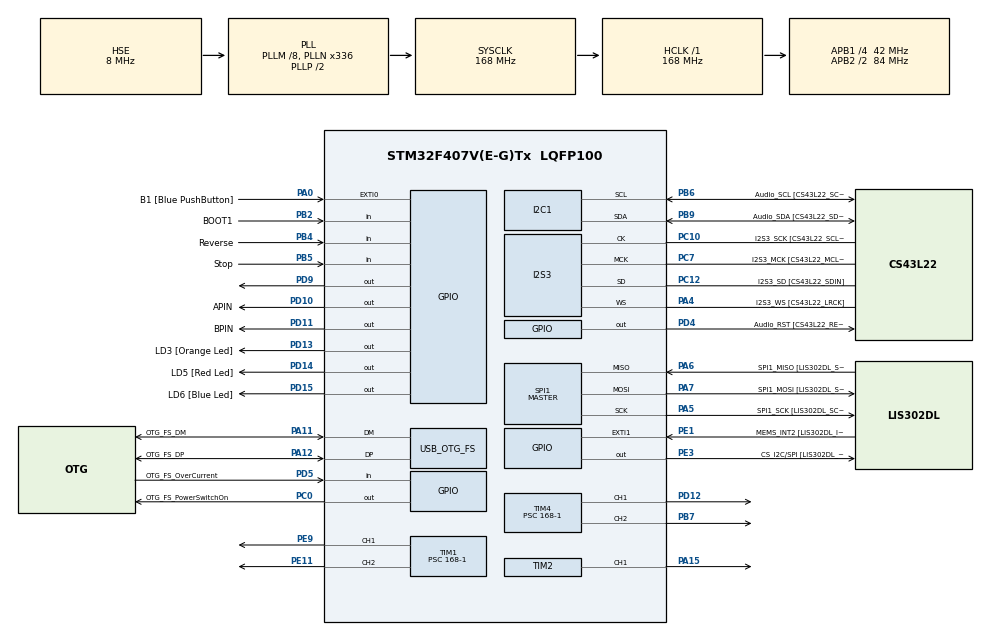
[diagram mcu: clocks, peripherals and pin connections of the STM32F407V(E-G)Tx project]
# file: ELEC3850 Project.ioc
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I2S3.AudioFreq-Half_Duplex_Master=I2S_AUDIOFREQ_96K
I2S3.ErrorAudioFreq=-2.34 %
I2S3.ErrorAudioFreq-Half_Duplex_Master=0.8 %
I2S3.FullDuplexMode=I2S_FULLDUPLEXMODE_DISABLE
I2S3.Instance=SPI$Index
I2S3.RealAudioFreq=93.75 KHz
I2S3.RealAudioFreq-Half_Duplex_Master=96.774 KHz
I2S3.VirtualMode=I2S_MODE_MASTER
Mcu.Family=STM32F4
Mcu.Name=STM32F407V(E-G)Tx
Mcu.Package=LQFP100
NVIC.EXTI0_IRQn=true\:0\:0\:false\:false\:true\:true\:true
NVIC.OTG_FS_IRQn=true\:0\:0\:false\:false\:true\:true\:true
NVIC.PriorityGroup=NVIC_PRIORITYGROUP_0
NVIC.TIM3_IRQn=true\:0\:0\:false\:false\:true\:true\:true
PA0-WKUP.GPIO_Label=B1 [Blue PushButton]
PA0-WKUP.GPIO_ModeDefaultEXTI=GPIO_MODE_IT_RISING
PA0-WKUP.GPIO_PuPd=GPIO_NOPULL
PA0-WKUP.Signal=GPXTI0
PA10.GPIO_Label=OTG_FS_ID
PA10.GPIO_Mode=GPIO_MODE_AF_PP
PA10.GPIO_PuPd=GPIO_NOPULL
PA10.GPIO_Speed=GPIO_SPEED_FREQ_LOW
PA10.Signal=USB_OTG_FS_ID
PA11.GPIO_Label=OTG_FS_DM
PA11.GPIO_Mode=GPIO_MODE_AF_PP
PA11.GPIO_PuPd=GPIO_NOPULL
PA11.GPIO_Speed=GPIO_SPEED_FREQ_LOW
PA11.Mode=Device_Only
PA11.Signal=USB_OTG_FS_DM
PA12.GPIO_Label=OTG_FS_DP
PA12.GPIO_Mode=GPIO_MODE_AF_PP
PA12.GPIO_PuPd=GPIO_NOPULL
PA12.GPIO_Speed=GPIO_SPEED_FREQ_LOW
PA12.Mode=Device_Only
PA12.Signal=USB_OTG_FS_DP
PA13.GPIO_Label=SWDIO
PA13.Mode=Serial_Wire
PA13.Signal=SYS_JTMS-SWDIO
PA14.GPIO_Label=SWCLK
PA14.Mode=Serial_Wire
PA14.Signal=SYS_JTCK-SWCLK
PA15.Signal=S_TIM2_CH1_ETR
PA4.GPIO_Label=I2S3_WS [CS43L22_LRCK]
PA4.GPIO_Mode=GPIO_MODE_AF_PP
PA4.GPIO_PuPd=GPIO_NOPULL
PA4.GPIO_Speed=GPIO_SPEED_FREQ_LOW
PA4.Mode=Half_Duplex_Master
PA4.Signal=I2S3_WS
PA5.GPIO_Label=SPI1_SCK [LIS302DL_SCL/SPC]
PA5.GPIO_Mode=GPIO_MODE_AF_PP
PA5.GPIO_PuPd=GPIO_NOPULL
PA5.GPIO_Speed=GPIO_SPEED_FREQ_LOW
PA5.Mode=Full_Duplex_Master
PA5.Signal=SPI1_SCK
PA6.GPIO_Label=SPI1_MISO [LIS302DL_SDO]
PA6.GPIO_Mode=GPIO_MODE_AF_PP
PA6.GPIO_PuPd=GPIO_NOPULL
PA6.GPIO_Speed=GPIO_SPEED_FREQ_LOW
PA6.Mode=Full_Duplex_Master
PA6.Signal=SPI1_MISO
PA7.GPIO_Label=SPI1_MOSI [LIS302DL_SDA/SDI/SDO]
PA7.GPIO_Mode=GPIO_MODE_AF_PP
PA7.GPIO_PuPd=GPIO_NOPULL
PA7.GPIO_Speed=GPIO_SPEED_FREQ_LOW
PA7.Mode=Full_Duplex_Master
PA7.Signal=SPI1_MOSI
PA9.GPIO_Label=VBUS_FS
PA9.GPIO_Mode=GPIO_MODE_INPUT
PA9.GPIO_PuPd=GPIO_NOPULL
PA9.Signal=USB_OTG_FS_VBUS
PB10.GPIO_Label=CLK_IN [MP45DT02_CLK]
PB10.GPIO_Mode=GPIO_MODE_AF_PP
PB10.GPIO_PuPd=GPIO_NOPULL
PB10.GPIO_Speed=GPIO_SPEED_FREQ_LOW
PB10.Signal=I2S2_CK
PB2.GPIO_Label=BOOT1
PB2.GPIO_Mode=GPIO_MODE_INPUT
PB2.GPIO_PuPd=GPIO_NOPULL
PB2.Signal=GPIO_Input
PB3.GPIO_Label=SWO
PB3.Signal=SYS_JTDO-SWO
PB4.GPIO_Label=Reverse
PB4.GPIO_PuPd=GPIO_PULLDOWN
PB4.Signal=GPIO_Input
PB5.GPIO_Label=Stop
PB5.GPIO_PuPd=GPIO_PULLDOWN
PB5.Signal=GPIO_Input
PB6.GPIO_Label=Audio_SCL [CS43L22_SCL]
PB6.GPIO_Mode=GPIO_MODE_AF_OD
PB6.GPIO_PuPd=GPIO_NOPULL
PB6.GPIO_Speed=GPIO_SPEED_FREQ_LOW
PB6.Mode=I2C
PB6.Signal=I2C1_SCL
PB7.Signal=S_TIM4_CH2
PB9.GPIO_Label=Audio_SDA [CS43L22_SDA]
PB9.GPIO_Mode=GPIO_MODE_AF_OD
PB9.GPIO_PuPd=GPIO_NOPULL
PB9.GPIO_Speed=GPIO_SPEED_FREQ_LOW
PB9.Mode=I2C
PB9.Signal=I2C1_SDA
PC0.GPIO_Label=OTG_FS_PowerSwitchOn
PC0.GPIO_PuPd=GPIO_NOPULL
PC0.GPIO_Speed=GPIO_SPEED_FREQ_LOW
PC0.PinState=GPIO_PIN_SET
PC0.Signal=GPIO_Output
PC10.GPIO_Label=I2S3_SCK [CS43L22_SCLK]
PC10.GPIO_Mode=GPIO_MODE_AF_PP
PC10.GPIO_PuPd=GPIO_NOPULL
PC10.GPIO_Speed=GPIO_SPEED_FREQ_LOW
PC10.Mode=Half_Duplex_Master
PC10.Signal=I2S3_CK
PC12.GPIO_Label=I2S3_SD [CS43L22_SDIN]
PC12.GPIO_Mode=GPIO_MODE_AF_PP
PC12.GPIO_PuPd=GPIO_NOPULL
PC12.GPIO_Speed=GPIO_SPEED_FREQ_LOW
PC12.Mode=Half_Duplex_Master
PC12.Signal=I2S3_SD
PC14-OSC32_IN.GPIO_Label=PC14-OSC32_IN
PC14-OSC32_IN.Mode=LSE-External-Oscillator
PC14-OSC32_IN.Signal=RCC_OSC32_IN
PC15-OSC32_OUT.GPIO_Label=PC15-OSC32_OUT
PC15-OSC32_OUT.Mode=LSE-External-Oscillator
PC15-OSC32_OUT.Signal=RCC_OSC32_OUT
PC3.GPIO_Label=PDM_OUT [MP45DT02_DOUT]
PC3.GPIO_Mode=GPIO_MODE_AF_PP
PC3.GPIO_PuPd=GPIO_NOPULL
PC3.GPIO_Speed=GPIO_SPEED_FREQ_LOW
PC3.Signal=I2S2_SD
PC7.GPIO_Label=I2S3_MCK [CS43L22_MCLK]
PC7.GPIO_Mode=GPIO_MODE_AF_PP
PC7.GPIO_PuPd=GPIO_NOPULL
PC7.GPIO_Speed=GPIO_SPEED_FREQ_LOW
PC7.Mode=Master_Clock_Activated
PC7.Signal=I2S3_MCK
PD10.GPIO_Label=APIN
PD10.Signal=GPIO_Output
PD11.GPIO_Label=BPIN
PD11.Signal=GPIO_Output
PD12.Signal=S_TIM4_CH1
PD13.GPIO_Label=LD3 [Orange Led]
PD13.GPIO_PuPd=GPIO_NOPULL
PD13.GPIO_Speed=GPIO_SPEED_FREQ_LOW
PD13.Signal=GPIO_Output
PD14.GPIO_Label=LD5 [Red Led]
PD14.GPIO_PuPd=GPIO_NOPULL
PD14.GPIO_Speed=GPIO_SPEED_FREQ_LOW
PD14.Signal=GPIO_Output
PD15.GPIO_Label=LD6 [Blue Led]
PD15.GPIO_PuPd=GPIO_NOPULL
PD15.GPIO_Speed=GPIO_SPEED_FREQ_LOW
PD15.Signal=GPIO_Output
PD4.GPIO_Label=Audio_RST [CS43L22_RESET]
PD4.GPIO_PuPd=GPIO_NOPULL
PD4.GPIO_Speed=GPIO_SPEED_FREQ_LOW
PD4.Signal=GPIO_Output
PD5.GPIO_Label=OTG_FS_OverCurrent
PD5.GPIO_Mode=GPIO_MODE_INPUT
PD5.GPIO_PuPd=GPIO_NOPULL
PD5.Signal=GPIO_Input
PD9.Signal=GPIO_Output
PE1.GPIO_Label=MEMS_INT2 [LIS302DL_INT2]
PE1.GPIO_ModeDefaultEXTI=GPIO_MODE_EVT_RISING
PE1.GPIO_PuPd=GPIO_NOPULL
PE1.Signal=GPXTI1
PE11.Signal=S_TIM1_CH2
PE3.GPIO_Label=CS_I2C/SPI [LIS302DL_CS_I2C/SPI]
PE3.GPIO_PuPd=GPIO_NOPULL
PE3.GPIO_Speed=GPIO_SPEED_FREQ_LOW
PE3.Signal=GPIO_Output
PE9.Signal=S_TIM1_CH1
PH0-OSC_IN.GPIO_Label=PH0-OSC_IN
PH0-OSC_IN.Mode=HSE-External-Oscillator
PH0-OSC_IN.Signal=RCC_OSC_IN
PH1-OSC_OUT.GPIO_Label=PH1-OSC_OUT
PH1-OSC_OUT.Mode=HSE-External-Oscillator
PH1-OSC_OUT.Signal=RCC_OSC_OUT
ProjectManager.HeapSize=0x200
ProjectManager.StackSize=0x400
ProjectManager.TargetToolchain=STM32CubeIDE
RCC.48MHZClocksFreq_Value=48000000
RCC.AHBFreq_Value=168000000
RCC.APB1CLKDivider=RCC_HCLK_DIV4
RCC.APB1Freq_Value=42000000
RCC.APB1TimFreq_Value=84000000
RCC.APB2CLKDivider=RCC_HCLK_DIV2
RCC.APB2Freq_Value=84000000
RCC.APB2TimFreq_Value=168000000
RCC.CortexFreq_Value=168000000
RCC.HCLKFreq_Value=168000000
RCC.HSE_VALUE=8000000
RCC.HSI_VALUE=16000000
RCC.PLLM=8
RCC.PLLN=336
RCC.PLLQ=7
RCC.SYSCLKFreq_VALUE=168000000
RCC.SYSCLKSource=RCC_SYSCLKSOURCE_PLLCLK
RCC.VCOOutputFreq_Value=336000000
SH.S_TIM1_CH1.0=TIM1_CH1,PWM Generation1 CH1
SH.S_TIM1_CH2.0=TIM1_CH2,PWM Generation2 CH2
SH.S_TIM2_CH1_ETR.0=TIM2_CH1,PWM Generation1 CH1
SH.S_TIM4_CH1.0=TIM4_CH1,PWM Generation1 CH1
SH.S_TIM4_CH2.0=TIM4_CH2,PWM Generation2 CH2
SPI1.BaudRatePrescaler-Full_Duplex_Master=SPI_BAUDRATEPRESCALER_2
SPI1.CalculateBaudRate-Full_Duplex_Master=42.0 MBits/s
SPI1.Direction=SPI_DIRECTION_2LINES
SPI1.Mode=SPI_MODE_MASTER
SPI1.Mode-Full_Duplex_Master=SPI_MODE_MASTER
SPI1.VirtualType=VM_MASTER
TIM1.Channel-PWM\ Generation1\ CH1=TIM_CHANNEL_1
TIM1.Channel-PWM\ Generation2\ CH2=TIM_CHANNEL_2
TIM1.Period=100-1
TIM1.Prescaler=168-1
TIM1.Pulse-PWM\ Generation1\ CH1=30
TIM1.Pulse-PWM\ Generation2\ CH2=90
TIM2.Channel-PWM\ Generation1\ CH1=TIM_CHANNEL_1
TIM2.Period=2000-1
TIM2.Prescaler=540
TIM4.Channel-PWM\ Generation1\ CH1=TIM_CHANNEL_1
TIM4.Channel-PWM\ Generation2\ CH2=TIM_CHANNEL_2
TIM4.Period=100-1
TIM4.Prescaler=168-1
TIM4.Pulse-PWM\ Generation1\ CH1=30
TIM4.Pulse-PWM\ Generation2\ CH2=90
USB_DEVICE.CLASS_NAME_FS=CDC
USB_DEVICE.VirtualMode-CDC_FS=Cdc
USB_DEVICE.VirtualModeFS=Cdc_FS
USB_OTG_FS.VirtualMode=Device_Only
VP_TIM1_VS_ClockSourceINT.Mode=Internal
VP_TIM2_VS_ClockSourceINT.Mode=Internal
VP_TIM3_VS_ClockSourceINT.Mode=Internal
VP_TIM4_VS_ClockSourceINT.Mode=Internal
VP_USB_DEVICE_VS_USB_DEVICE_CDC_FS.Mode=CDC_FS
board=STM32F4DISCOVERY

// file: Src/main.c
/* USER CODE BEGIN Header */
/**
 ******************************************************************************
 * @file           : main.c
 * @brief          : Main program body
 ******************************************************************************
 * @attention
 *
 * <h2><center>&copy; Copyright (c) 2019 STMicroelectronics.
 * All rights reserved.</center></h2>
 *
 * This software component is licensed by ST under Ultimate Liberty license
 * SLA0044, the "License"; You may not use this file except in compliance with
 * the License. You may obtain a copy of the License at:
 *                             www.st.com/SLA0044
 *
 ******************************************************************************
 */
/* USER CODE END Header */

#include "main.h"
#include "usb_device.h"

I2C_HandleTypeDef hi2c1;

I2S_HandleTypeDef hi2s3;

SPI_HandleTypeDef hspi1;

TIM_HandleTypeDef htim1;
TIM_HandleTypeDef htim2;
TIM_HandleTypeDef htim3;
TIM_HandleTypeDef htim4;

void SystemClock_Config(void);
static void MX_GPIO_Init(void);
static void MX_I2C1_Init(void);
static void MX_I2S3_Init(void);
static void MX_SPI1_Init(void);
static void MX_TIM3_Init(void);
static void MX_TIM4_Init(void);
static void MX_TIM2_Init(void);
static void MX_TIM1_Init(void);

/* USER CODE BEGIN 0 */

/*
 * pwm_setvalue(); sets pwm value for motor drive, produced by Gus
 * This function gives full control for gate switching!!
 *
 * &htim4: address of timer 1
 * 						"B diagonal of H-BRIDGE"
 * &htim1: address of timer 2
 * 						"A diagonal of H-BRIDGE"
 * TIM_CHANNEL_1 : points to channel one of the timer
 * 						"HIGH-SIDE of H-BRIDGE"
 * TIM_CHANNEL_2 : points to channel two of the timer
 * 						"LOW-SIDE of H-BRIDGE"
*/
void pwm_setvalue(int a, uint16_t high_a, uint16_t low_a, uint16_t high_b, uint16_t low_b)
{
	//Timer configuration setup

	TIM_OC_InitTypeDef sConfigOC, sConfigOC1;

	//Timer one requirements
	sConfigOC.OCMode = TIM_OCMODE_PWM1;
	sConfigOC.OCPolarity = TIM_OCPOLARITY_HIGH;
	sConfigOC.OCFastMode = TIM_OCFAST_DISABLE;

	//Timer four requirements
	sConfigOC1.OCMode = TIM_OCMODE_PWM1;
	sConfigOC1.OCPolarity = TIM_OCPOLARITY_HIGH;
	sConfigOC1.OCFastMode = TIM_OCFAST_DISABLE;
	sConfigOC1.OCIdleState = TIM_OCIDLESTATE_RESET;
	sConfigOC1.OCNIdleState = TIM_OCNIDLESTATE_RESET;
	sConfigOC1.OCNPolarity = TIM_OCNPOLARITY_HIGH;

	//Stop motors: turn on both low gates
	switch(a){

		case 0:

			sConfigOC.Pulse = 0;
			sConfigOC1.Pulse = 0;
			//Turn off high side
			if (HAL_TIM_PWM_ConfigChannel(&htim4, &sConfigOC, TIM_CHANNEL_1) != HAL_OK)
			{
				Error_Handler();
			}
			if (HAL_TIM_PWM_ConfigChannel(&htim1, &sConfigOC1, TIM_CHANNEL_1) != HAL_OK)
			{
				Error_Handler();
			}
			HAL_TIM_PWM_Start(&htim4, TIM_CHANNEL_1);
			HAL_TIM_PWM_Start(&htim1, TIM_CHANNEL_1);

			//Turn on low side
			sConfigOC.Pulse = low_a;
			sConfigOC1.Pulse = low_b;
			if (HAL_TIM_PWM_ConfigChannel(&htim4, &sConfigOC, TIM_CHANNEL_2) != HAL_OK)
			{
				Error_Handler();
			}
			if (HAL_TIM_PWM_ConfigChannel(&htim1, &sConfigOC1, TIM_CHANNEL_2) != HAL_OK)
			{
				Error_Handler();
			}
			HAL_TIM_PWM_Start(&htim4, TIM_CHANNEL_2);
			HAL_TIM_PWM_Start(&htim1, TIM_CHANNEL_2);

		break;

		//Go forwards: switch off low_a and high_b and turn on high_a and low_b

		case 1:

			sConfigOC1.Pulse = 0;
			//switch off low_b and high_b
			if (HAL_TIM_PWM_ConfigChannel(&htim1, &sConfigOC1, TIM_CHANNEL_1) != HAL_OK)
			{
				Error_Handler();
			}
			if (HAL_TIM_PWM_ConfigChannel(&htim1, &sConfigOC1, TIM_CHANNEL_2) != HAL_OK)
			{
				Error_Handler();
			}
			HAL_TIM_PWM_Start(&htim1, TIM_CHANNEL_1);
			HAL_TIM_PWM_Start(&htim1, TIM_CHANNEL_2);

			//turn on low_a - allow motor to discharge
			sConfigOC.Pulse = low_a;
			if (HAL_TIM_PWM_ConfigChannel(&htim4, &sConfigOC, TIM_CHANNEL_2) != HAL_OK)
			{
				Error_Handler();
			}
			HAL_TIM_PWM_Start(&htim4, TIM_CHANNEL_2);

			//turn on high_a - produce current through motor
			sConfigOC.Pulse = high_a;
			if (HAL_TIM_PWM_ConfigChannel(&htim4, &sConfigOC, TIM_CHANNEL_1) != HAL_OK)
			{
				Error_Handler();
			}
			HAL_TIM_PWM_Start(&htim4, TIM_CHANNEL_1);

		break;

	//Go backwards: switch off high_a and low_b and turn on low_a and high_b
		case 2:

			sConfigOC.Pulse = 0;
			//switch off high_a and low_a
			if (HAL_TIM_PWM_ConfigChannel(&htim4, &sConfigOC, TIM_CHANNEL_1) != HAL_OK)
			{
				Error_Handler();
			}
			if (HAL_TIM_PWM_ConfigChannel(&htim4, &sConfigOC, TIM_CHANNEL_2) != HAL_OK)
			{
				Error_Handler();
			}
			HAL_TIM_PWM_Start(&htim4, TIM_CHANNEL_1);
			HAL_TIM_PWM_Start(&htim4, TIM_CHANNEL_2);

			//turn on low_b - allow motor to discharge
			sConfigOC1.Pulse = low_b;
			if (HAL_TIM_PWM_ConfigChannel(&htim1, &sConfigOC1, TIM_CHANNEL_2) != HAL_OK)
			{
				Error_Handler();
			}
			HAL_TIM_PWM_Start(&htim1, TIM_CHANNEL_2);

			//turn on high_b - produce current through motor
			sConfigOC1.Pulse = high_b;
			if (HAL_TIM_PWM_ConfigChannel(&htim1, &sConfigOC1, TIM_CHANNEL_1) != HAL_OK)
			{
				Error_Handler();
			}
			HAL_TIM_PWM_Start(&htim1, TIM_CHANNEL_1);

		break;
	}
}

void steer_pwm_setvalue(uint16_t value)
{
	TIM_OC_InitTypeDef sConfigOC;
	sConfigOC.OCMode = TIM_OCMODE_PWM1;
	sConfigOC.Pulse = value;
	sConfigOC.OCPolarity = TIM_OCPOLARITY_HIGH;
	sConfigOC.OCFastMode = TIM_OCFAST_DISABLE;
	if (HAL_TIM_PWM_ConfigChannel(&htim2, &sConfigOC, TIM_CHANNEL_1) != HAL_OK)
	{
		Error_Handler();
	}
	HAL_TIM_PWM_Start(&htim2, TIM_CHANNEL_1);
}

//Steering functions
void steer_left_PWM(){
	steer_pwm_setvalue(102);
}

void steer_straight_PWM(){
	steer_pwm_setvalue(119);
	HAL_Delay(1);
}

void steer_right_PWM(){
	steer_pwm_setvalue(133);
}

void drive_forward(uint16_t pwm){

	int i;

	for(i = 0; i<(int)pwm; i++){

		//pwm_setvalue(case, high_a, low_a, high_b, low_b);
		pwm_setvalue(1, i, 90, 0, 0);

	}

}

void drive_backward(uint16_t pwm){

	int i;

	for(i = 0; i<(int)pwm; i++){

		//pwm_setvalue(case, high_a, low_a, high_b, low_b);
		pwm_setvalue(2, 0, 0, i, 90);

	}

}

void stop(uint16_t pwm){

	//pwm_setvalue(case, high_a, low_a, high_b, low_b);
	pwm_setvalue(0, 0, pwm, 0, pwm);

}

/* USER CODE END 0 */

int main(void)
{

  /* MCU Configuration--------------------------------------------------------*/

  /* Reset of all peripherals, Initializes the Flash interface and the Systick. */
  HAL_Init();

  /* Configure the system clock */
  SystemClock_Config();

  /* Initialize all configured peripherals */
  MX_GPIO_Init();
  MX_I2C1_Init();
  MX_I2S3_Init();
  MX_SPI1_Init();
  MX_USB_DEVICE_Init();
  MX_TIM3_Init();
  MX_TIM4_Init();
  MX_TIM2_Init();
  MX_TIM1_Init();
  /* USER CODE BEGIN 2 */
	HAL_TIM_Base_Start_IT(&htim3);
	uint8_t Reverse = 0;
	uint8_t Stop = 0;

  /* USER CODE END 2 */

  /* Infinite loop */
  /* USER CODE BEGIN WHILE */
	int i = 235;
	steer_pwm_setvalue(i);

	while (1)
	{
		//left = 200
		//straight = 225
		//
		//steer_straight_PWM();

		drive_forward(40);
		//drive_backward(90);
		//HAL_Delay(1);

		Stop = HAL_GPIO_ReadPin(Stop_GPIO_Port, Stop_Pin);
		//int k = 0;
		while(Stop == 1)
		{
			//if(!k){
				//steer_pwm_setvalue(200);
			//}

			stop(100);
			Reverse = HAL_GPIO_ReadPin(Reverse_GPIO_Port, Reverse_Pin);
			while(Reverse == 1)
			{
				Stop = 0;
				drive_backward(50);
				Stop = HAL_GPIO_ReadPin(Stop_GPIO_Port, Stop_Pin);
				while(Stop == 1)
				{
					stop(100);
				}
			}
			//k = 1;
		}

		/*stop(30);

		drive_forward(30);

		stop(30);

		drive_backward(30);*/

	}
    /* USER CODE END WHILE */

}

void SystemClock_Config(void)
{
  RCC_OscInitTypeDef RCC_OscInitStruct = {0};
  RCC_ClkInitTypeDef RCC_ClkInitStruct = {0};
  RCC_PeriphCLKInitTypeDef PeriphClkInitStruct = {0};

  /** Configure the main internal regulator output voltage
  */
  __HAL_RCC_PWR_CLK_ENABLE();
  __HAL_PWR_VOLTAGESCALING_CONFIG(PWR_REGULATOR_VOLTAGE_SCALE1);
  /** Initializes the CPU, AHB and APB busses clocks
  */
  RCC_OscInitStruct.OscillatorType = RCC_OSCILLATORTYPE_HSE;
  RCC_OscInitStruct.HSEState = RCC_HSE_ON;
  RCC_OscInitStruct.PLL.PLLState = RCC_PLL_ON;
  RCC_OscInitStruct.PLL.PLLSource = RCC_PLLSOURCE_HSE;
  RCC_OscInitStruct.PLL.PLLM = 8;
  RCC_OscInitStruct.PLL.PLLN = 336;
  RCC_OscInitStruct.PLL.PLLP = RCC_PLLP_DIV2;
  RCC_OscInitStruct.PLL.PLLQ = 7;
  if (HAL_RCC_OscConfig(&RCC_OscInitStruct) != HAL_OK)
  {
    Error_Handler();
  }
  /** Initializes the CPU, AHB and APB busses clocks
  */
  RCC_ClkInitStruct.ClockType = RCC_CLOCKTYPE_HCLK|RCC_CLOCKTYPE_SYSCLK
                              |RCC_CLOCKTYPE_PCLK1|RCC_CLOCKTYPE_PCLK2;
  RCC_ClkInitStruct.SYSCLKSource = RCC_SYSCLKSOURCE_PLLCLK;
  RCC_ClkInitStruct.AHBCLKDivider = RCC_SYSCLK_DIV1;
  RCC_ClkInitStruct.APB1CLKDivider = RCC_HCLK_DIV4;
  RCC_ClkInitStruct.APB2CLKDivider = RCC_HCLK_DIV2;

  if (HAL_RCC_ClockConfig(&RCC_ClkInitStruct, FLASH_LATENCY_5) != HAL_OK)
  {
    Error_Handler();
  }
  PeriphClkInitStruct.PeriphClockSelection = RCC_PERIPHCLK_I2S;
  PeriphClkInitStruct.PLLI2S.PLLI2SN = 192;
  PeriphClkInitStruct.PLLI2S.PLLI2SR = 2;
  if (HAL_RCCEx_PeriphCLKConfig(&PeriphClkInitStruct) != HAL_OK)
  {
    Error_Handler();
  }
}

static void MX_I2C1_Init(void)
{

  hi2c1.Instance = I2C1;
  hi2c1.Init.ClockSpeed = 100000;
  hi2c1.Init.DutyCycle = I2C_DUTYCYCLE_2;
  hi2c1.Init.OwnAddress1 = 0;
  hi2c1.Init.AddressingMode = I2C_ADDRESSINGMODE_7BIT;
  hi2c1.Init.DualAddressMode = I2C_DUALADDRESS_DISABLE;
  hi2c1.Init.OwnAddress2 = 0;
  hi2c1.Init.GeneralCallMode = I2C_GENERALCALL_DISABLE;
  hi2c1.Init.NoStretchMode = I2C_NOSTRETCH_DISABLE;
  if (HAL_I2C_Init(&hi2c1) != HAL_OK)
  {
    Error_Handler();
  }

}

static void MX_I2S3_Init(void)
{

  hi2s3.Instance = SPI3;
  hi2s3.Init.Mode = I2S_MODE_MASTER_TX;
  hi2s3.Init.Standard = I2S_STANDARD_PHILIPS;
  hi2s3.Init.DataFormat = I2S_DATAFORMAT_16B;
  hi2s3.Init.MCLKOutput = I2S_MCLKOUTPUT_ENABLE;
  hi2s3.Init.AudioFreq = I2S_AUDIOFREQ_96K;
  hi2s3.Init.CPOL = I2S_CPOL_LOW;
  hi2s3.Init.ClockSource = I2S_CLOCK_PLL;
  hi2s3.Init.FullDuplexMode = I2S_FULLDUPLEXMODE_DISABLE;
  if (HAL_I2S_Init(&hi2s3) != HAL_OK)
  {
    Error_Handler();
  }

}

static void MX_SPI1_Init(void)
{

  /* SPI1 parameter configuration*/
  hspi1.Instance = SPI1;
  hspi1.Init.Mode = SPI_MODE_MASTER;
  hspi1.Init.Direction = SPI_DIRECTION_2LINES;
  hspi1.Init.DataSize = SPI_DATASIZE_8BIT;
  hspi1.Init.CLKPolarity = SPI_POLARITY_LOW;
  hspi1.Init.CLKPhase = SPI_PHASE_1EDGE;
  hspi1.Init.NSS = SPI_NSS_SOFT;
  hspi1.Init.BaudRatePrescaler = SPI_BAUDRATEPRESCALER_2;
  hspi1.Init.FirstBit = SPI_FIRSTBIT_MSB;
  hspi1.Init.TIMode = SPI_TIMODE_DISABLE;
  hspi1.Init.CRCCalculation = SPI_CRCCALCULATION_DISABLE;
  hspi1.Init.CRCPolynomial = 10;
  if (HAL_SPI_Init(&hspi1) != HAL_OK)
  {
    Error_Handler();
  }

}

static void MX_TIM1_Init(void)
{

  TIM_ClockConfigTypeDef sClockSourceConfig = {0};
  TIM_MasterConfigTypeDef sMasterConfig = {0};
  TIM_OC_InitTypeDef sConfigOC = {0};
  TIM_BreakDeadTimeConfigTypeDef sBreakDeadTimeConfig = {0};

  htim1.Instance = TIM1;
  htim1.Init.Prescaler = 168-1;
  htim1.Init.CounterMode = TIM_COUNTERMODE_UP;
  htim1.Init.Period = 100-1;
  htim1.Init.ClockDivision = TIM_CLOCKDIVISION_DIV1;
  htim1.Init.RepetitionCounter = 0;
  htim1.Init.AutoReloadPreload = TIM_AUTORELOAD_PRELOAD_DISABLE;
  if (HAL_TIM_Base_Init(&htim1) != HAL_OK)
  {
    Error_Handler();
  }
  sClockSourceConfig.ClockSource = TIM_CLOCKSOURCE_INTERNAL;
  if (HAL_TIM_ConfigClockSource(&htim1, &sClockSourceConfig) != HAL_OK)
  {
    Error_Handler();
  }
  if (HAL_TIM_PWM_Init(&htim1) != HAL_OK)
  {
    Error_Handler();
  }
  sMasterConfig.MasterOutputTrigger = TIM_TRGO_RESET;
  sMasterConfig.MasterSlaveMode = TIM_MASTERSLAVEMODE_DISABLE;
  if (HAL_TIMEx_MasterConfigSynchronization(&htim1, &sMasterConfig) != HAL_OK)
  {
    Error_Handler();
  }
  sConfigOC.OCMode = TIM_OCMODE_PWM1;
  sConfigOC.Pulse = 30;
  sConfigOC.OCPolarity = TIM_OCPOLARITY_HIGH;
  sConfigOC.OCNPolarity = TIM_OCNPOLARITY_HIGH;
  sConfigOC.OCFastMode = TIM_OCFAST_DISABLE;
  sConfigOC.OCIdleState = TIM_OCIDLESTATE_RESET;
  sConfigOC.OCNIdleState = TIM_OCNIDLESTATE_RESET;
  if (HAL_TIM_PWM_ConfigChannel(&htim1, &sConfigOC, TIM_CHANNEL_1) != HAL_OK)
  {
    Error_Handler();
  }
  sConfigOC.Pulse = 90;
  if (HAL_TIM_PWM_ConfigChannel(&htim1, &sConfigOC, TIM_CHANNEL_2) != HAL_OK)
  {
    Error_Handler();
  }
  sBreakDeadTimeConfig.OffStateRunMode = TIM_OSSR_DISABLE;
  sBreakDeadTimeConfig.OffStateIDLEMode = TIM_OSSI_DISABLE;
  sBreakDeadTimeConfig.LockLevel = TIM_LOCKLEVEL_OFF;
  sBreakDeadTimeConfig.DeadTime = 0;
  sBreakDeadTimeConfig.BreakState = TIM_BREAK_DISABLE;
  sBreakDeadTimeConfig.BreakPolarity = TIM_BREAKPOLARITY_HIGH;
  sBreakDeadTimeConfig.AutomaticOutput = TIM_AUTOMATICOUTPUT_DISABLE;
  if (HAL_TIMEx_ConfigBreakDeadTime(&htim1, &sBreakDeadTimeConfig) != HAL_OK)
  {
    Error_Handler();
  }
  HAL_TIM_MspPostInit(&htim1);

}

static void MX_TIM2_Init(void)
{

  TIM_ClockConfigTypeDef sClockSourceConfig = {0};
  TIM_MasterConfigTypeDef sMasterConfig = {0};
  TIM_OC_InitTypeDef sConfigOC = {0};

  htim2.Instance = TIM2;
  htim2.Init.Prescaler = 540;
  htim2.Init.CounterMode = TIM_COUNTERMODE_UP;
  htim2.Init.Period = 2000-1;
  htim2.Init.ClockDivision = TIM_CLOCKDIVISION_DIV1;
  htim2.Init.AutoReloadPreload = TIM_AUTORELOAD_PRELOAD_DISABLE;
  if (HAL_TIM_Base_Init(&htim2) != HAL_OK)
  {
    Error_Handler();
  }
  sClockSourceConfig.ClockSource = TIM_CLOCKSOURCE_INTERNAL;
  if (HAL_TIM_ConfigClockSource(&htim2, &sClockSourceConfig) != HAL_OK)
  {
    Error_Handler();
  }
  if (HAL_TIM_PWM_Init(&htim2) != HAL_OK)
  {
    Error_Handler();
  }
  sMasterConfig.MasterOutputTrigger = TIM_TRGO_RESET;
  sMasterConfig.MasterSlaveMode = TIM_MASTERSLAVEMODE_DISABLE;
  if (HAL_TIMEx_MasterConfigSynchronization(&htim2, &sMasterConfig) != HAL_OK)
  {
    Error_Handler();
  }
  sConfigOC.OCMode = TIM_OCMODE_PWM1;
  sConfigOC.Pulse = 0;
  sConfigOC.OCPolarity = TIM_OCPOLARITY_HIGH;
  sConfigOC.OCFastMode = TIM_OCFAST_DISABLE;
  if (HAL_TIM_PWM_ConfigChannel(&htim2, &sConfigOC, TIM_CHANNEL_1) != HAL_OK)
  {
    Error_Handler();
  }
  HAL_TIM_MspPostInit(&htim2);

}

static void MX_TIM3_Init(void)
{

  TIM_ClockConfigTypeDef sClockSourceConfig = {0};
  TIM_MasterConfigTypeDef sMasterConfig = {0};

  htim3.Instance = TIM3;
  htim3.Init.Prescaler = 0;
  htim3.Init.CounterMode = TIM_COUNTERMODE_UP;
  htim3.Init.Period = 0;
  htim3.Init.ClockDivision = TIM_CLOCKDIVISION_DIV1;
  htim3.Init.AutoReloadPreload = TIM_AUTORELOAD_PRELOAD_DISABLE;
  if (HAL_TIM_Base_Init(&htim3) != HAL_OK)
  {
    Error_Handler();
  }
  sClockSourceConfig.ClockSource = TIM_CLOCKSOURCE_INTERNAL;
  if (HAL_TIM_ConfigClockSource(&htim3, &sClockSourceConfig) != HAL_OK)
  {
    Error_Handler();
  }
  sMasterConfig.MasterOutputTrigger = TIM_TRGO_RESET;
  sMasterConfig.MasterSlaveMode = TIM_MASTERSLAVEMODE_DISABLE;
  if (HAL_TIMEx_MasterConfigSynchronization(&htim3, &sMasterConfig) != HAL_OK)
  {
    Error_Handler();
  }

}

static void MX_TIM4_Init(void)
{

  TIM_ClockConfigTypeDef sClockSourceConfig = {0};
  TIM_MasterConfigTypeDef sMasterConfig = {0};
  TIM_OC_InitTypeDef sConfigOC = {0};

  htim4.Instance = TIM4;
  htim4.Init.Prescaler = 168-1;
  htim4.Init.CounterMode = TIM_COUNTERMODE_UP;
  htim4.Init.Period = 100-1;
  htim4.Init.ClockDivision = TIM_CLOCKDIVISION_DIV1;
  htim4.Init.AutoReloadPreload = TIM_AUTORELOAD_PRELOAD_DISABLE;
  if (HAL_TIM_Base_Init(&htim4) != HAL_OK)
  {
    Error_Handler();
  }
  sClockSourceConfig.ClockSource = TIM_CLOCKSOURCE_INTERNAL;
  if (HAL_TIM_ConfigClockSource(&htim4, &sClockSourceConfig) != HAL_OK)
  {
    Error_Handler();
  }
  if (HAL_TIM_PWM_Init(&htim4) != HAL_OK)
  {
    Error_Handler();
  }
  sMasterConfig.MasterOutputTrigger = TIM_TRGO_RESET;
  sMasterConfig.MasterSlaveMode = TIM_MASTERSLAVEMODE_DISABLE;
  if (HAL_TIMEx_MasterConfigSynchronization(&htim4, &sMasterConfig) != HAL_OK)
  {
    Error_Handler();
  }
  sConfigOC.OCMode = TIM_OCMODE_PWM1;
  sConfigOC.Pulse = 30;
  sConfigOC.OCPolarity = TIM_OCPOLARITY_HIGH;
  sConfigOC.OCFastMode = TIM_OCFAST_DISABLE;
  if (HAL_TIM_PWM_ConfigChannel(&htim4, &sConfigOC, TIM_CHANNEL_1) != HAL_OK)
  {
    Error_Handler();
  }
  sConfigOC.Pulse = 90;
  if (HAL_TIM_PWM_ConfigChannel(&htim4, &sConfigOC, TIM_CHANNEL_2) != HAL_OK)
  {
    Error_Handler();
  }
  HAL_TIM_MspPostInit(&htim4);

}

static void MX_GPIO_Init(void)
{
  GPIO_InitTypeDef GPIO_InitStruct = {0};

  /* GPIO Ports Clock Enable */
  __HAL_RCC_GPIOE_CLK_ENABLE();
  __HAL_RCC_GPIOC_CLK_ENABLE();
  __HAL_RCC_GPIOH_CLK_ENABLE();
  __HAL_RCC_GPIOA_CLK_ENABLE();
  __HAL_RCC_GPIOB_CLK_ENABLE();
  __HAL_RCC_GPIOD_CLK_ENABLE();

  /*Configure GPIO pin Output Level */
  HAL_GPIO_WritePin(CS_I2C_SPI_GPIO_Port, CS_I2C_SPI_Pin, GPIO_PIN_RESET);

  /*Configure GPIO pin Output Level */
  HAL_GPIO_WritePin(OTG_FS_PowerSwitchOn_GPIO_Port, OTG_FS_PowerSwitchOn_Pin, GPIO_PIN_SET);

  /*Configure GPIO pin Output Level */
  HAL_GPIO_WritePin(GPIOD, GPIO_PIN_9|APIN_Pin|BPIN_Pin|LD3_Pin
                          |LD5_Pin|LD6_Pin|Audio_RST_Pin, GPIO_PIN_RESET);

  /*Configure GPIO pin : CS_I2C_SPI_Pin */
  GPIO_InitStruct.Pin = CS_I2C_SPI_Pin;
  GPIO_InitStruct.Mode = GPIO_MODE_OUTPUT_PP;
  GPIO_InitStruct.Pull = GPIO_NOPULL;
  GPIO_InitStruct.Speed = GPIO_SPEED_FREQ_LOW;
  HAL_GPIO_Init(CS_I2C_SPI_GPIO_Port, &GPIO_InitStruct);

  /*Configure GPIO pin : OTG_FS_PowerSwitchOn_Pin */
  GPIO_InitStruct.Pin = OTG_FS_PowerSwitchOn_Pin;
  GPIO_InitStruct.Mode = GPIO_MODE_OUTPUT_PP;
  GPIO_InitStruct.Pull = GPIO_NOPULL;
  GPIO_InitStruct.Speed = GPIO_SPEED_FREQ_LOW;
  HAL_GPIO_Init(OTG_FS_PowerSwitchOn_GPIO_Port, &GPIO_InitStruct);

  /*Configure GPIO pin : PDM_OUT_Pin */
  GPIO_InitStruct.Pin = PDM_OUT_Pin;
  GPIO_InitStruct.Mode = GPIO_MODE_AF_PP;
  GPIO_InitStruct.Pull = GPIO_NOPULL;
  GPIO_InitStruct.Speed = GPIO_SPEED_FREQ_LOW;
  GPIO_InitStruct.Alternate = GPIO_AF5_SPI2;
  HAL_GPIO_Init(PDM_OUT_GPIO_Port, &GPIO_InitStruct);

  /*Configure GPIO pin : B1_Pin */
  GPIO_InitStruct.Pin = B1_Pin;
  GPIO_InitStruct.Mode = GPIO_MODE_IT_RISING;
  GPIO_InitStruct.Pull = GPIO_NOPULL;
  HAL_GPIO_Init(B1_GPIO_Port, &GPIO_InitStruct);

  /*Configure GPIO pin : BOOT1_Pin */
  GPIO_InitStruct.Pin = BOOT1_Pin;
  GPIO_InitStruct.Mode = GPIO_MODE_INPUT;
  GPIO_InitStruct.Pull = GPIO_NOPULL;
  HAL_GPIO_Init(BOOT1_GPIO_Port, &GPIO_InitStruct);

  /*Configure GPIO pin : CLK_IN_Pin */
  GPIO_InitStruct.Pin = CLK_IN_Pin;
  GPIO_InitStruct.Mode = GPIO_MODE_AF_PP;
  GPIO_InitStruct.Pull = GPIO_NOPULL;
  GPIO_InitStruct.Speed = GPIO_SPEED_FREQ_LOW;
  GPIO_InitStruct.Alternate = GPIO_AF5_SPI2;
  HAL_GPIO_Init(CLK_IN_GPIO_Port, &GPIO_InitStruct);

  /*Configure GPIO pins : PD9 APIN_Pin BPIN_Pin LD3_Pin
                           LD5_Pin LD6_Pin Audio_RST_Pin */
  GPIO_InitStruct.Pin = GPIO_PIN_9|APIN_Pin|BPIN_Pin|LD3_Pin
                          |LD5_Pin|LD6_Pin|Audio_RST_Pin;
  GPIO_InitStruct.Mode = GPIO_MODE_OUTPUT_PP;
  GPIO_InitStruct.Pull = GPIO_NOPULL;
  GPIO_InitStruct.Speed = GPIO_SPEED_FREQ_LOW;
  HAL_GPIO_Init(GPIOD, &GPIO_InitStruct);

  /*Configure GPIO pin : OTG_FS_OverCurrent_Pin */
  GPIO_InitStruct.Pin = OTG_FS_OverCurrent_Pin;
  GPIO_InitStruct.Mode = GPIO_MODE_INPUT;
  GPIO_InitStruct.Pull = GPIO_NOPULL;
  HAL_GPIO_Init(OTG_FS_OverCurrent_GPIO_Port, &GPIO_InitStruct);

  /*Configure GPIO pins : Reverse_Pin Stop_Pin */
  GPIO_InitStruct.Pin = Reverse_Pin|Stop_Pin;
  GPIO_InitStruct.Mode = GPIO_MODE_INPUT;
  GPIO_InitStruct.Pull = GPIO_PULLDOWN;
  HAL_GPIO_Init(GPIOB, &GPIO_InitStruct);

  /*Configure GPIO pin : MEMS_INT2_Pin */
  GPIO_InitStruct.Pin = MEMS_INT2_Pin;
  GPIO_InitStruct.Mode = GPIO_MODE_EVT_RISING;
  GPIO_InitStruct.Pull = GPIO_NOPULL;
  HAL_GPIO_Init(MEMS_INT2_GPIO_Port, &GPIO_InitStruct);

  /* EXTI interrupt init*/
  HAL_NVIC_SetPriority(EXTI0_IRQn, 0, 0);
  HAL_NVIC_EnableIRQ(EXTI0_IRQn);

}

void Error_Handler(void)
{
}

/************************ (C) COPYRIGHT STMicroelectronics *****END OF FILE****/
